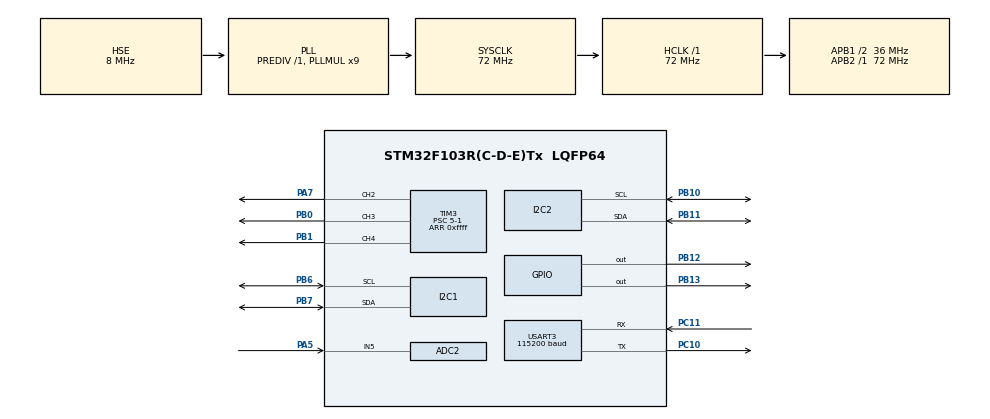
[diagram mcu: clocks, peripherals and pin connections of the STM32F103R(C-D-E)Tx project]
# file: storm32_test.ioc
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ADC2.Channel-0\#ChannelRegularConversion=ADC_CHANNEL_5
ADC2.NbrOfConversionFlag=1
ADC2.Rank-0\#ChannelRegularConversion=1
ADC2.SamplingTime-0\#ChannelRegularConversion=ADC_SAMPLETIME_1CYCLE_5
Mcu.Family=STM32F1
Mcu.Name=STM32F103R(C-D-E)Tx
Mcu.Package=LQFP64
NVIC.PriorityGroup=NVIC_PRIORITYGROUP_4
NVIC.USART3_IRQn=true\:0\:0\:false\:false\:true\:true\:true
PA13.Mode=Serial_Wire
PA13.Signal=SYS_JTMS-SWDIO
PA14.Mode=Serial_Wire
PA14.Signal=SYS_JTCK-SWCLK
PA5.Signal=SharedAnalog_PA5
PA7.Signal=S_TIM3_CH2
PB0.Signal=S_TIM3_CH3
PB1.Signal=S_TIM3_CH4
PB10.Mode=I2C
PB10.Signal=I2C2_SCL
PB11.Mode=I2C
PB11.Signal=I2C2_SDA
PB12.Signal=GPIO_Output
PB13.Signal=GPIO_Output
PB6.Mode=I2C
PB6.Signal=I2C1_SCL
PB7.Mode=I2C
PB7.Signal=I2C1_SDA
PC10.Mode=Asynchronous
PC10.Signal=USART3_TX
PC11.Mode=Asynchronous
PC11.Signal=USART3_RX
PD0-OSC_IN.Mode=HSE-External-Oscillator
PD0-OSC_IN.Signal=RCC_OSC_IN
PD1-OSC_OUT.Mode=HSE-External-Oscillator
PD1-OSC_OUT.Signal=RCC_OSC_OUT
ProjectManager.HeapSize=0x200
ProjectManager.StackSize=0x400
ProjectManager.TargetToolchain=STM32CubeIDE
RCC.ADCPresc=RCC_ADCPCLK2_DIV8
RCC.AHBFreq_Value=72000000
RCC.APB1CLKDivider=RCC_HCLK_DIV2
RCC.APB1Freq_Value=36000000
RCC.APB1TimFreq_Value=72000000
RCC.APB2Freq_Value=72000000
RCC.APB2TimFreq_Value=72000000
RCC.HCLKFreq_Value=72000000
RCC.PLLMUL=RCC_PLL_MUL9
RCC.PLLSourceVirtual=RCC_PLLSOURCE_HSE
RCC.SYSCLKFreq_VALUE=72000000
RCC.SYSCLKSource=RCC_SYSCLKSOURCE_PLLCLK
RCC.USBFreq_Value=72000000
SH.S_TIM3_CH2.0=TIM3_CH2,PWM Generation2 CH2
SH.S_TIM3_CH3.0=TIM3_CH3,PWM Generation3 CH3
SH.S_TIM3_CH4.0=TIM3_CH4,PWM Generation4 CH4
SH.SharedAnalog_PA5.0=GPIO_Analog
SH.SharedAnalog_PA5.1=ADC2_IN5,IN5
TIM3.Channel-PWM\ Generation2\ CH2=TIM_CHANNEL_2
TIM3.Channel-PWM\ Generation3\ CH3=TIM_CHANNEL_3
TIM3.Channel-PWM\ Generation4\ CH4=TIM_CHANNEL_4
TIM3.CounterMode=TIM_COUNTERMODE_CENTERALIGNED1
TIM3.Period=0xffff
TIM3.Prescaler=5-1
TIM3.Pulse-PWM\ Generation2\ CH2=100
TIM3.Pulse-PWM\ Generation3\ CH3=100
TIM3.Pulse-PWM\ Generation4\ CH4=100
USART3.BaudRate=115200
USART3.VirtualMode=VM_ASYNC
board=custom

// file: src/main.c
/* USER CODE BEGIN Header */
/**
  ******************************************************************************
  * @file           : main.c
  * @brief          : Main program body
  ******************************************************************************
  * @attention
  *
  * <h2><center>&copy; Copyright (c) 2020 STMicroelectronics.
  * All rights reserved.</center></h2>
  *
  * This software component is licensed by ST under BSD 3-Clause license,
  * the "License"; You may not use this file except in compliance with the
  * License. You may obtain a copy of the License at:
  *                        opensource.org/licenses/BSD-3-Clause
  *
  ******************************************************************************
  */
/* USER CODE END Header */

#include "main.h"
#include "adc.h"
#include "i2c.h"
#include "tim.h"
#include "usart.h"
#include "gpio.h"

/* USER CODE BEGIN Includes */
#include "stdio.h"
#include "serial_server.h"
#include "sine_wave.h"
#include "motor_define.h"
#include "SVPWM.h"
#include "MPU6050.h"
#include "stm32f1xx_it.h"
/* USER CODE END Includes */

/* USER CODE BEGIN PD */
Serial_Transmit_Stream_typeDef serial_data;
/* USER CODE END PD */

/* USER CODE BEGIN PV */
uint16_t ADC2_Value = 0;
static float P=90.0;
static float I=0.0;
static float D=100.0;
static uint8_t motor_num=0;
static float pitchPPara = 120.0;
static float pitchIPara = 0.0;
static float pitchDPara = 10.0;
static float rollPPara = 120.0;
static float rollIPara = 0.0;
static float rollDPara = 10.0;
static float yawPPara = 80.0;
static float yawIPara = 0.0;
static float yawDPara = 8.0;
//__IO uint32_t currentTicks = 0;

/* USER CODE END PV */

void SystemClock_Config(void);

/* USER CODE BEGIN 0 */
// P=90;
// I=0;
// D=100;
/* USER CODE END 0 */

int main(void)
{
  /* USER CODE BEGIN 1 */
  // float angle = 0;
  // float motor_v = 2.5;
  float yaw, roll, pitch;

  uint8_t delay_count=0;
  uint32_t delay_time=0;
  /* USER CODE END 1 */

  /* MCU Configuration--------------------------------------------------------*/

  /* Reset of all peripherals, Initializes the Flash interface and the Systick. */
  HAL_Init();

  /* Configure the system clock */
  SystemClock_Config();

  /* Initialize all configured peripherals */
  MX_GPIO_Init();
  MX_USART3_UART_Init();
  MX_ADC2_Init();
  MX_I2C2_Init();
  MX_TIM3_Init();
  MX_I2C1_Init();
  /* USER CODE BEGIN 2 */
  InitSerialPrintReceiveIT(&uart3_it,&huart3);
  HAL_UART_Receive_IT(uart3_it.uart,&(uart3_it.tmp_buff),1);
  // initiate client's PID value
  uint8_t n=0;
  while(n<3)
  {
    if (n==0)
    {
      serial_data.time_stamp = ((uint32_t)0);
      P=pitchPPara;
      I=pitchIPara;
      D=pitchDPara;
    }
    else if (n==1)
    {
      serial_data.time_stamp = ((uint32_t)1);
      P=rollPPara;
      I=rollIPara;
      D=rollDPara;
    }
    else
    {
      serial_data.time_stamp = ((uint32_t)2);
      P=yawPPara;
      I=yawIPara;
      D=yawDPara;
    }
    serial_data.end1 = '\r';
    serial_data.end2 = '\n';
    serial_data.yaw = (float)P;
    serial_data.roll = (float)I;
    serial_data.pitch = (float)D;
    for(int i=0;i<2;i++)
    {
      SerialPrintTransmit(&serial_data);
      HAL_Delay(50);
    }
    n++;
  }

  /* Number of ticks per millisecond */
  const uint32_t tickPerMs = SysTick->LOAD + 1;
  // HAL_TIM_PWM_Start(&htim3,TIM_CHANNEL_2);
  // HAL_TIM_PWM_Start(&htim3,TIM_CHANNEL_3);
  // HAL_TIM_PWM_Start(&htim3,TIM_CHANNEL_4);

   //PB12 Led0 green
  HAL_GPIO_WritePin(GPIOB,GPIO_PIN_12,SET);
  HAL_Delay(2000);
  //Set is pull-up
  HAL_GPIO_WritePin(GPIOB,GPIO_PIN_12,RESET);
  HAL_Delay(500);
  //Reset is pull-down

  /*Onboard_MPU6050*/
  // is_using_onboard_mpu=1;
  // /*global variable which indicates the in use mpu*/
  // /*when set to 1,the address whould be plused to reach the other mpu*/
  // while (init_MPU6050_DMP(&hi2c1))
  // {
  //   printf("Onboard_MPU6050 DMP init error!\r\n");
  //   HAL_Delay(50);
  // }
  /*External_MPU6050*/
  is_using_onboard_mpu=0;
  // while (init_MPU6050_DMP(&hi2c2))
  // {
  //   printf("External_MPU6050 DMP init error!\r\n");
  //   HAL_Delay(50);
  // }

  //added in the end of data
  //serial_data.test_float=123.0;
  //serial_data.time_stamp = HAL_GetTick();//get current time
  // SerialPrintTransmit(&serial_data);
  // HAL_Delay(200);
  /* USER CODE END 2 */

  /* Infinite loop */
  /* USER CODE BEGIN WHILE */

  while (1)
  {
    if(uart3_it.is_compelete){
      uart3_it.is_compelete = 0;
      // updateEncoder(&roll_encoder);
      motor_num= uart3_it.data.time_stamp;
      if(sendpid(motor_num,&uart3_it.data.yaw,&uart3_it.data.roll,&uart3_it.data.pitch))
      {
        serial_data.time_stamp = uart3_it.data.time_stamp;
        serial_data.yaw = uart3_it.data.yaw;
        serial_data.roll = uart3_it.data.roll;
        serial_data.pitch = uart3_it.data.pitch;
        SerialPrintTransmit(&serial_data);
        printf("transmited_to_client\r\n");
      }
      printf("transmited_to_client\r\n");
      HAL_GPIO_TogglePin(GPIOB,GPIO_PIN_12);
    }
    //PB12 Led0 green
    // HAL_GPIO_WritePin(GPIOB,GPIO_PIN_12,SET);
    // HAL_Delay(200);
    // //Set is pull-up
    // HAL_GPIO_WritePin(GPIOB,GPIO_PIN_12,RESET);
    // HAL_Delay(20);
    //Reset is pull-down

    if(frame_1Hz==1)//toggle green and send temp. each second
    {
      frame_1Hz=0;
      HAL_GPIO_TogglePin(GPIOB,GPIO_PIN_12);
      HAL_ADC_Start(&hadc2);//Activate adc conversion. If isn't executed, adc can't get new value
      HAL_ADC_PollForConversion(&hadc2, 50);
      /* Check if the continous conversion of regular channel is finished */
      if(HAL_IS_BIT_SET(HAL_ADC_GetState(&hadc2), HAL_ADC_STATE_REG_EOC))
      {
        /*##-3- Get the converted value of regular channel  ######################*/
        ADC2_Value = HAL_ADC_GetValue(&hadc2);
        //printf("Voltage: %1.3f V \r\n",ADC2_Value*0.0061767578125);
        /*voltage coefficient?0.00617=3.3/4096*11.5/1.5?comes from divided voltage compared to VCC*/
      }
    }

    if(frame_500Hz==1)
    {
      frame_500Hz=0;

      __IO uint32_t currentTicks = SysTick->VAL;
      //currentTicks       = SysTick->VAL;//get current time
      //deltaTime500Hz    = currentTicks - previous500HzTime;//time between loop
      previous500HzTime = currentTicks;//record time before functions

      // is_using_onboard_mpu=0;
      // MPU6050_I2C = &hi2c2;
      // while (mpu_dmp_get_data(&pitch, &roll, &yaw));//get data from mpu#2
      // if(delay_count!=0)//ignore printf time
      // {
      // delay_time+=executionTime500Hz;
      // }
      // delay_count++;
      // if(delay_count==101)
      // {
      //   delay_count=0;
      //   printf("------------External_MPU6050-------------\r\n");
      //   printf("yaw:%.2f\troll:%.2f\tpitch:%.2f\r\n", yaw, roll, pitch);
      //   printf("consume time:%.2f\r\n",((float)delay_time)/100);
      //   printf("tickperms:%d\r\n",tickPerMs);
      //   delay_time=0;
      // }
      // // is_using_onboard_mpu=1;
      // MPU6050_I2C = &hi2c1;
      // while (mpu_dmp_get_data(&pitch, &roll, &yaw));//get data from mpu#1
      // printf("------------Onboard_MPU6050-------------\r\n");
      // printf("yaw:%.2f\troll:%.2f\tpitch:%.2f\r\n", yaw, roll, pitch);
      // printf("--------------------------------\r\n");
      // serial_data.pitch=pitch;
      // serial_data.roll=roll;
      // serial_data.yaw=yaw;
      // serial_data.time_stamp = HAL_GetTick();//get current time
      // SerialPrintTransmit(&serial_data);
      // HAL_Delay(200);
      currentTicks = SysTick->VAL;
      executionTime500Hz = (previous500HzTime < currentTicks) ? tickPerMs + previous500HzTime - currentTicks :
                    previous500HzTime - currentTicks;//save this execute time to executionTime500Hz
    }

    if(frame_100Hz==1)
    {
      frame_100Hz=0;
      HAL_UART_Receive_IT(uart3_it.uart,&(uart3_it.tmp_buff),1);
      //HAL_Delay(1000);
    }

    // printf("12345\r\n");

    //PB13 Led1 red
    // HAL_GPIO_WritePin(GPIOB,GPIO_PIN_13,SET);
    // HAL_Delay(200);
    // HAL_GPIO_WritePin(GPIOB,GPIO_PIN_13,RESET);
    // HAL_Delay(20);

    /* USER CODE END WHILE */

  }
}

void SystemClock_Config(void)
{
  RCC_OscInitTypeDef RCC_OscInitStruct = {0};
  RCC_ClkInitTypeDef RCC_ClkInitStruct = {0};
  RCC_PeriphCLKInitTypeDef PeriphClkInit = {0};

  /** Initializes the CPU, AHB and APB busses clocks
  */
  RCC_OscInitStruct.OscillatorType = RCC_OSCILLATORTYPE_HSE;
  RCC_OscInitStruct.HSEState = RCC_HSE_ON;
  RCC_OscInitStruct.HSEPredivValue = RCC_HSE_PREDIV_DIV1;
  RCC_OscInitStruct.HSIState = RCC_HSI_ON;
  RCC_OscInitStruct.PLL.PLLState = RCC_PLL_ON;
  RCC_OscInitStruct.PLL.PLLSource = RCC_PLLSOURCE_HSE;
  RCC_OscInitStruct.PLL.PLLMUL = RCC_PLL_MUL9;
  if (HAL_RCC_OscConfig(&RCC_OscInitStruct) != HAL_OK)
  {
    Error_Handler();
  }
  /** Initializes the CPU, AHB and APB busses clocks
  */
  RCC_ClkInitStruct.ClockType = RCC_CLOCKTYPE_HCLK|RCC_CLOCKTYPE_SYSCLK
                              |RCC_CLOCKTYPE_PCLK1|RCC_CLOCKTYPE_PCLK2;
  RCC_ClkInitStruct.SYSCLKSource = RCC_SYSCLKSOURCE_PLLCLK;
  RCC_ClkInitStruct.AHBCLKDivider = RCC_SYSCLK_DIV1;
  RCC_ClkInitStruct.APB1CLKDivider = RCC_HCLK_DIV2;
  RCC_ClkInitStruct.APB2CLKDivider = RCC_HCLK_DIV1;

  if (HAL_RCC_ClockConfig(&RCC_ClkInitStruct, FLASH_LATENCY_2) != HAL_OK)
  {
    Error_Handler();
  }
  PeriphClkInit.PeriphClockSelection = RCC_PERIPHCLK_ADC;
  PeriphClkInit.AdcClockSelection = RCC_ADCPCLK2_DIV8;
  if (HAL_RCCEx_PeriphCLKConfig(&PeriphClkInit) != HAL_OK)
  {
    Error_Handler();
  }
}

/* USER CODE BEGIN 4 */
int sendpid(int motornum,float *get_P, float *get_I, float *get_D)
{
  static int PID_transmit_complete=0;
  PID_transmit_complete=0;
  if(motornum==0)
  {
      pitchPPara=*get_P;
      pitchIPara=*get_I;
      pitchDPara=*get_D;
      printf("storm_pitch:P:%f,I:%f,D:%f\r\n",pitchPPara,pitchIPara,pitchDPara);
  }
  else if(motornum==1)
  {
      rollPPara=*get_P;
      rollIPara=*get_I;
      rollDPara=*get_D;
      printf("storm_roll:P:%f,I:%f,D:%f\r\n",rollPPara,rollIPara,rollDPara);
  }
  else
  {
      yawPPara=*get_P;
      yawIPara=*get_I;
      yawDPara=*get_D;
      printf("storm_yaw:P:%f,I:%f,D:%f\r\n",yawPPara,yawIPara,yawDPara);
  }

  PID_transmit_complete=1;
  return PID_transmit_complete;
}
/* USER CODE END 4 */

void Error_Handler(void)
{
}

/************************ (C) COPYRIGHT STMicroelectronics *****END OF FILE****/
